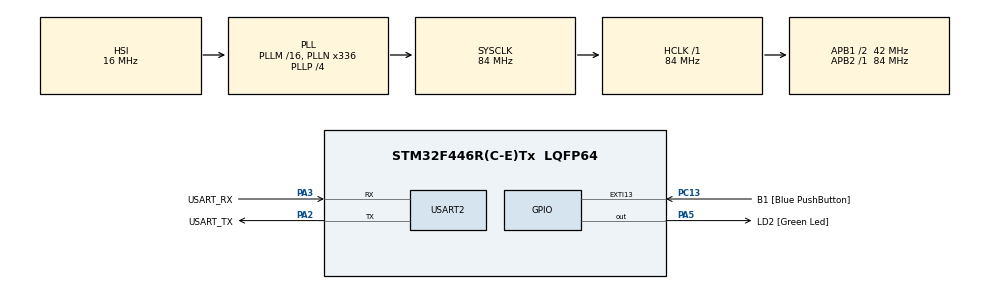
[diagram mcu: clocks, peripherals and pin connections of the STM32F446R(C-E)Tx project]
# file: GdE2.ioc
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Mcu.Family=STM32F4
Mcu.Name=STM32F446R(C-E)Tx
Mcu.Package=LQFP64
NVIC.PriorityGroup=NVIC_PRIORITYGROUP_0
PA13.GPIO_Label=TMS
PA13.Mode=Serial_Wire
PA13.Signal=SYS_JTMS-SWDIO
PA14.GPIO_Label=TCK
PA14.Mode=Serial_Wire
PA14.Signal=SYS_JTCK-SWCLK
PA2.GPIO_Label=USART_TX
PA2.Mode=Asynchronous
PA2.Signal=USART2_TX
PA3.GPIO_Label=USART_RX
PA3.Mode=Asynchronous
PA3.Signal=USART2_RX
PA5.GPIO_Label=LD2 [Green Led]
PA5.Signal=GPIO_Output
PB3.GPIO_Label=SWO
PB3.Signal=SYS_JTDO-SWO
PC13.GPIO_Label=B1 [Blue PushButton]
PC13.GPIO_ModeDefaultEXTI=GPIO_MODE_IT_FALLING
PC13.Signal=GPXTI13
PC14-OSC32_IN.Mode=LSE-External-Oscillator
PC14-OSC32_IN.Signal=RCC_OSC32_IN
PC15-OSC32_OUT.Mode=LSE-External-Oscillator
PC15-OSC32_OUT.Signal=RCC_OSC32_OUT
PH0-OSC_IN.Mode=HSE-External-Oscillator
PH0-OSC_IN.Signal=RCC_OSC_IN
PH1-OSC_OUT.Mode=HSE-External-Oscillator
PH1-OSC_OUT.Signal=RCC_OSC_OUT
ProjectManager.HeapSize=0x200
ProjectManager.StackSize=0x400
ProjectManager.TargetToolchain=STM32CubeIDE
RCC.48MHZClocksFreq_Value=84000000
RCC.AHBFreq_Value=84000000
RCC.APB1CLKDivider=RCC_HCLK_DIV2
RCC.APB1Freq_Value=42000000
RCC.APB1TimFreq_Value=84000000
RCC.APB2Freq_Value=84000000
RCC.APB2TimFreq_Value=84000000
RCC.CortexFreq_Value=84000000
RCC.FLatency-AdvancedSettings=FLASH_LATENCY_2
RCC.HCLKFreq_Value=84000000
RCC.HSE_VALUE=8000000
RCC.HSI_VALUE=16000000
RCC.PLLN=336
RCC.PLLP=RCC_PLLP_DIV4
RCC.SYSCLKFreq_VALUE=84000000
RCC.SYSCLKSource=RCC_SYSCLKSOURCE_PLLCLK
RCC.USBFreq_Value=168000000
RCC.VCOOutputFreq_Value=336000000
USART2.VirtualMode=VM_ASYNC
board=NUCLEO-F446RE

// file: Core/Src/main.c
/* USER CODE BEGIN Header */
/**
  ******************************************************************************
  * @file           : main.c
  * @brief          : Main program body
  ******************************************************************************
  * @attention
  *
  * Copyright (c) 2025 STMicroelectronics.
  * All rights reserved.
  *
  * This software is licensed under terms that can be found in the LICENSE file
  * in the root directory of this software component.
  * If no LICENSE file comes with this software, it is provided AS-IS.
  *
  ******************************************************************************
  */
/* USER CODE END Header */
#include "main.h"

/* USER CODE BEGIN Includes */
#include <string.h>
#include "functions_ge2.h"

/* USER CODE END Includes */

UART_HandleTypeDef huart2;

void SystemClock_Config(void);
static void MX_GPIO_Init(void);
static void MX_USART2_UART_Init(void);

int main(void)
{

  /* MCU Configuration--------------------------------------------------------*/

  /* Reset of all peripherals, Initializes the Flash interface and the Systick. */
  HAL_Init();

  /* Configure the system clock */
  SystemClock_Config();

  /* Initialize all configured peripherals */
  MX_GPIO_Init();
  MX_USART2_UART_Init();
  /* USER CODE BEGIN 2 */

  // Habilitación del contador de ciclos (DWT->CYCCNT)
  CoreDebug->DEMCR |= CoreDebug_DEMCR_TRCENA_Msk;   // Habilita el bloque de traza (DWT)
  DWT->CTRL |= 1 << DWT_CTRL_CYCCNTENA_Pos;         // Habilita el contador de ciclos

  /* ----------- Ejercicio 1 ----------- */
  int16_t lat_C[LONGITUD_EJ1], long_C[LONGITUD_EJ1];
  int16_t lat_ASM[LONGITUD_EJ1], long_ASM[LONGITUD_EJ1];
  uint32_t ciclos_C_ej1, ciclos_ASM_ej1;

  DWT->CYCCNT = 0;
  GPS_unpack((int32_t *)GPS_data, lat_C, long_C, LONGITUD_EJ1);
  ciclos_C_ej1 = DWT->CYCCNT;

  DWT->CYCCNT = 0;
  asm_GPS_unpack((int32_t *)GPS_data, lat_ASM, long_ASM, LONGITUD_EJ1);
  ciclos_ASM_ej1 = DWT->CYCCNT;
  // Esperado lat:  0, 10, 100, 1000, 2000, -2048, -1, 1, -64, 291
  // Esperado long: 0, 10, 100, 200, 2000, -2048, 1, -1, 64, -872
  /* ----------- Ejercicio 1 ----------- */

  /* ----------- Ejercicio 2 ----------- */
  uint32_t indice_C, indice_ASM, indiceVacio_C, indiceVacio_ASM;
  uint32_t ciclos_C_ej2, ciclos_ASM_ej2;

  DWT->CYCCNT = 0;
  indice_C = max((int32_t *)vectorIn_ej3, LONGITUD_EJ3);
  ciclos_C_ej2 = DWT->CYCCNT;

  DWT->CYCCNT = 0;
  indice_ASM = asm_max((int32_t *)vectorIn_ej3, LONGITUD_EJ3);
  ciclos_ASM_ej2 = DWT->CYCCNT;
  // Esperado: 9 (el máximo 912 aparece en los índices 9 y 12; se devuelve el primero)

  indiceVacio_C = max((int32_t *)vectorIn_ej3, 0);
  indiceVacio_ASM = asm_max((int32_t *)vectorIn_ej3, 0);
  // Esperado: 0 (no hay muestras)
  /* ----------- Ejercicio 2 ----------- */

  /* ----------- Ejercicio 3 ----------- */
  // Los vectores del .h son const (están en flash): se copian a RAM para poder invertirlos
  uint16_t bufPar_C[LONGITUD_EJ4_PAR], bufPar_ASM[LONGITUD_EJ4_PAR];
  uint16_t bufImpar_C[LONGITUD_EJ4_IMPAR], bufImpar_ASM[LONGITUD_EJ4_IMPAR];
  uint32_t ciclos_C_ej3, ciclos_ASM_ej3;

  memcpy(bufPar_C, buffer_ej4_in_par, sizeof(buffer_ej4_in_par));
  memcpy(bufPar_ASM, buffer_ej4_in_par, sizeof(buffer_ej4_in_par));
  memcpy(bufImpar_C, buffer_ej4_in_impar, sizeof(buffer_ej4_in_impar));
  memcpy(bufImpar_ASM, buffer_ej4_in_impar, sizeof(buffer_ej4_in_impar));

  DWT->CYCCNT = 0;
  invertir(bufPar_C, LONGITUD_EJ4_PAR);
  ciclos_C_ej3 = DWT->CYCCNT;

  DWT->CYCCNT = 0;
  asm_invertir(bufPar_ASM, LONGITUD_EJ4_PAR);
  ciclos_ASM_ej3 = DWT->CYCCNT;
  // Esperado: 1200, 1100, 1000, ..., 200, 100

  invertir(bufImpar_C, LONGITUD_EJ4_IMPAR);
  asm_invertir(bufImpar_ASM, LONGITUD_EJ4_IMPAR);
  // Esperado: 130, 120, ..., 20, 10 (el 70 queda en el centro)
  /* ----------- Ejercicio 3 ----------- */

  /* USER CODE END 2 */

  /* Infinite loop */
  while (1)
  {

  }
}

void SystemClock_Config(void)
{
  RCC_OscInitTypeDef RCC_OscInitStruct = {0};
  RCC_ClkInitTypeDef RCC_ClkInitStruct = {0};

  /** Configure the main internal regulator output voltage
  */
  __HAL_RCC_PWR_CLK_ENABLE();
  __HAL_PWR_VOLTAGESCALING_CONFIG(PWR_REGULATOR_VOLTAGE_SCALE3);

  /** Initializes the RCC Oscillators according to the specified parameters
  * in the RCC_OscInitTypeDef structure.
  */
  RCC_OscInitStruct.OscillatorType = RCC_OSCILLATORTYPE_HSI;
  RCC_OscInitStruct.HSIState = RCC_HSI_ON;
  RCC_OscInitStruct.HSICalibrationValue = RCC_HSICALIBRATION_DEFAULT;
  RCC_OscInitStruct.PLL.PLLState = RCC_PLL_ON;
  RCC_OscInitStruct.PLL.PLLSource = RCC_PLLSOURCE_HSI;
  RCC_OscInitStruct.PLL.PLLM = 16;
  RCC_OscInitStruct.PLL.PLLN = 336;
  RCC_OscInitStruct.PLL.PLLP = RCC_PLLP_DIV4;
  RCC_OscInitStruct.PLL.PLLQ = 2;
  RCC_OscInitStruct.PLL.PLLR = 2;
  if (HAL_RCC_OscConfig(&RCC_OscInitStruct) != HAL_OK)
  {
    Error_Handler();
  }

  /** Initializes the CPU, AHB and APB buses clocks
  */
  RCC_ClkInitStruct.ClockType = RCC_CLOCKTYPE_HCLK|RCC_CLOCKTYPE_SYSCLK
                              |RCC_CLOCKTYPE_PCLK1|RCC_CLOCKTYPE_PCLK2;
  RCC_ClkInitStruct.SYSCLKSource = RCC_SYSCLKSOURCE_PLLCLK;
  RCC_ClkInitStruct.AHBCLKDivider = RCC_SYSCLK_DIV1;
  RCC_ClkInitStruct.APB1CLKDivider = RCC_HCLK_DIV2;
  RCC_ClkInitStruct.APB2CLKDivider = RCC_HCLK_DIV1;

  if (HAL_RCC_ClockConfig(&RCC_ClkInitStruct, FLASH_LATENCY_2) != HAL_OK)
  {
    Error_Handler();
  }
}

static void MX_USART2_UART_Init(void)
{

  huart2.Instance = USART2;
  huart2.Init.BaudRate = 115200;
  huart2.Init.WordLength = UART_WORDLENGTH_8B;
  huart2.Init.StopBits = UART_STOPBITS_1;
  huart2.Init.Parity = UART_PARITY_NONE;
  huart2.Init.Mode = UART_MODE_TX_RX;
  huart2.Init.HwFlowCtl = UART_HWCONTROL_NONE;
  huart2.Init.OverSampling = UART_OVERSAMPLING_16;
  if (HAL_UART_Init(&huart2) != HAL_OK)
  {
    Error_Handler();
  }

}

static void MX_GPIO_Init(void)
{
  GPIO_InitTypeDef GPIO_InitStruct = {0};

  /* GPIO Ports Clock Enable */
  __HAL_RCC_GPIOC_CLK_ENABLE();
  __HAL_RCC_GPIOH_CLK_ENABLE();
  __HAL_RCC_GPIOA_CLK_ENABLE();
  __HAL_RCC_GPIOB_CLK_ENABLE();

  /*Configure GPIO pin Output Level */
  HAL_GPIO_WritePin(LD2_GPIO_Port, LD2_Pin, GPIO_PIN_RESET);

  /*Configure GPIO pin : B1_Pin */
  GPIO_InitStruct.Pin = B1_Pin;
  GPIO_InitStruct.Mode = GPIO_MODE_IT_FALLING;
  GPIO_InitStruct.Pull = GPIO_NOPULL;
  HAL_GPIO_Init(B1_GPIO_Port, &GPIO_InitStruct);

  /*Configure GPIO pin : LD2_Pin */
  GPIO_InitStruct.Pin = LD2_Pin;
  GPIO_InitStruct.Mode = GPIO_MODE_OUTPUT_PP;
  GPIO_InitStruct.Pull = GPIO_NOPULL;
  GPIO_InitStruct.Speed = GPIO_SPEED_FREQ_LOW;
  HAL_GPIO_Init(LD2_GPIO_Port, &GPIO_InitStruct);

}

void Error_Handler(void)
{
  __disable_irq();
  while (1)
  {
  }
}
